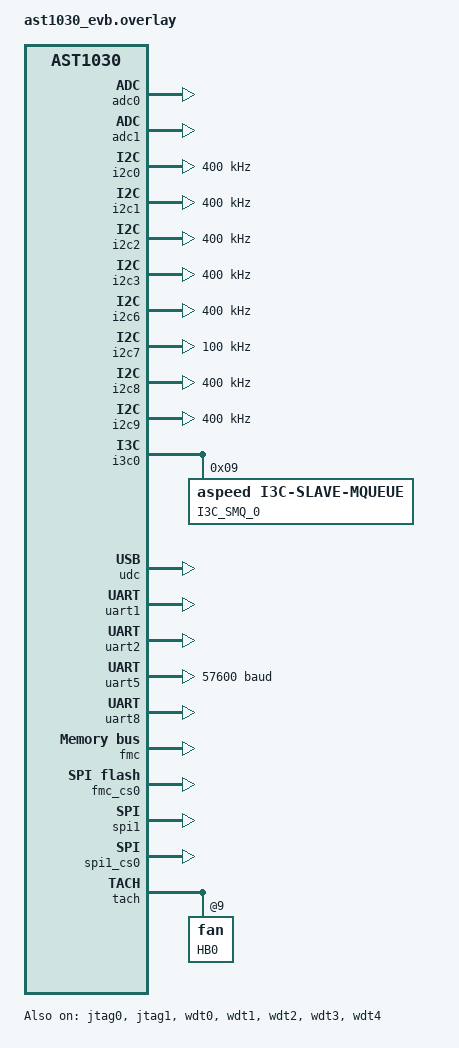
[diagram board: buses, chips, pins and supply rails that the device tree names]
&adc0 {
	status = "okay";
	pinctrl-0 = <
		&pinctrl_adc0_default
		&pinctrl_adc1_default
		&pinctrl_adc2_default
		&pinctrl_adc3_default
		&pinctrl_adc4_default
		&pinctrl_adc5_default
		&pinctrl_adc6_default
		&pinctrl_adc7_default>;
};

&adc1 {
	status = "okay";
	pinctrl-0 = <
		&pinctrl_adc8_default
		&pinctrl_adc9_default
		&pinctrl_adc10_default
		&pinctrl_adc11_default
		&pinctrl_adc12_default
		&pinctrl_adc13_default
		&pinctrl_adc14_default>;
};

&jtag0 {
	status = "okay";
};

&jtag1 {
	status = "okay";
};

&i2c0 {
	pinctrl-0 = <&pinctrl_i2c0_default>;
	status = "okay";
	clock-frequency = <I2C_BITRATE_FAST>;
};

&i2c1 {
	pinctrl-0 = <&pinctrl_i2c1_default>;
	status = "okay";
	clock-frequency = <I2C_BITRATE_FAST>;
};

&i2c2 {
	pinctrl-0 = <&pinctrl_i2c2_default>;
	clock-frequency = <I2C_BITRATE_FAST>;
	status = "okay";
};

&i2c3 {
	pinctrl-0 = <&pinctrl_i2c3_default>;
	status = "okay";
	clock-frequency = <I2C_BITRATE_FAST>;
};

&i2c6 {
	pinctrl-0 = <&pinctrl_i2c6_default>;
	status = "okay";
	clock-frequency = <I2C_BITRATE_FAST>;
};

&i2c7 {
	pinctrl-0 = <&pinctrl_i2c7_default>;
	status = "okay";
	clock-frequency = <I2C_BITRATE_STANDARD>;
};

&i2c8 {
	pinctrl-0 = <&pinctrl_i2c8_default>;
	status = "okay";
	clock-frequency = <I2C_BITRATE_FAST>;
};

&i2c9 {
        pinctrl-0 = <&pinctrl_i2c9_default>;
        status = "okay";
        clock-frequency = <I2C_BITRATE_FAST>;
};

&i3c0 {
	status = "okay";
	assigned-address = <0x9>;
	pinctrl-0 = <&pinctrl_i3c0_default>;
	i3c-scl-hz = <12500000>;
	ibi-append-pec;
	secondary;
	i3c0_smq: i3c-slave-mqueue@9 {
		compatible = "aspeed,i3c-slave-mqueue";
		reg = <0x9>;
		msg-size = <256>;
		num-of-msgs = <8>;
		mandatory-data-byte = <0xbf>;
		label = "I3C_SMQ_0";
		status = "okay";
	};
};

&udc {
	status = "okay";
};

&uart1 {
  status = "okay";
};

&uart2 {
  status = "okay";
};

&uart5 {
	current-speed = <57600>;
};

&uart8 {
  status = "okay";
};

&fmc {
	status = "okay";
};

&fmc_cs0 {
	status = "okay";
	spi-max-buswidth = <4>;
	spi-max-frequency = <50000000>;

	partitions {
		compatible = "fixed-partitions";
		#address-cells = <1>;
		#size-cells = <1>;
		boot_partition: partition@0 {
			label = "image-0";
			reg = <0x0 0x100000>;
		};
		dfu_partition: partition@1 {
			label = "image-1";
			reg = <0x0 0x100000>;
		};
	};
};

&fmc_cs1 {
	status = "disabled";
	spi-max-buswidth = <4>;
	spi-max-frequency = <50000000>;
};

&spi1 {
	status = "okay";
};

&spi1_cs0 {
	status = "okay";
	spi-max-buswidth = <4>;
	spi-max-frequency = <3125000>;
	re-init-support;
};

&wdt0 {
	status = "okay";
};

&wdt1 {
	status = "okay";
};

&wdt2 {
	status = "okay";
};

&wdt3 {
	status = "okay";
};

&wdt4 {
	status = "okay";
};

&sram0 {
	reg = <0 DT_SIZE_K(642)>, <DT_SIZE_K(642) DT_SIZE_K(126)>;
};

&gpio0_a_d {
	aspeed,persist-maps = <0x5555004f>;
};

&gpio0_e_h {
	aspeed,persist-maps = <0x002A8060>;
};

&gpio0_m_p {
	aspeed,persist-maps = <0x00000800>;
};

&tach { 
	status = "okay";

	pinctrl-0 = <&pinctrl_tach8_default &pinctrl_tach9_default>;

	fan@0 {
		reg = <9>;
		pulse-pr = <2>;
		min-rpm = <10>;
		tach-div = <5>;
		tach-mode = <2>;
		label = "HB0";
	};
};
